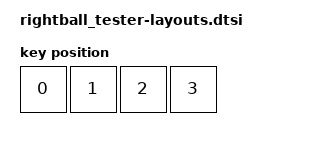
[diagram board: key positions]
#include <physical_layouts.dtsi>

/ {
    physical_layout_rightball_tester: physical_layout_rightball_tester {
        compatible = "zmk,physical-layout";
        display-name = "rightball tester";
        keys  //                     w   h    x    y     rot    rx    ry
            = <&key_physical_attrs 100 100  100    0       0     0     0>
            , <&key_physical_attrs 100 100  200    0       0     0     0>
            , <&key_physical_attrs 100 100  300    0       0     0     0>
            , <&key_physical_attrs 100 100  400    0       0     0     0>
            ;
    };
};
